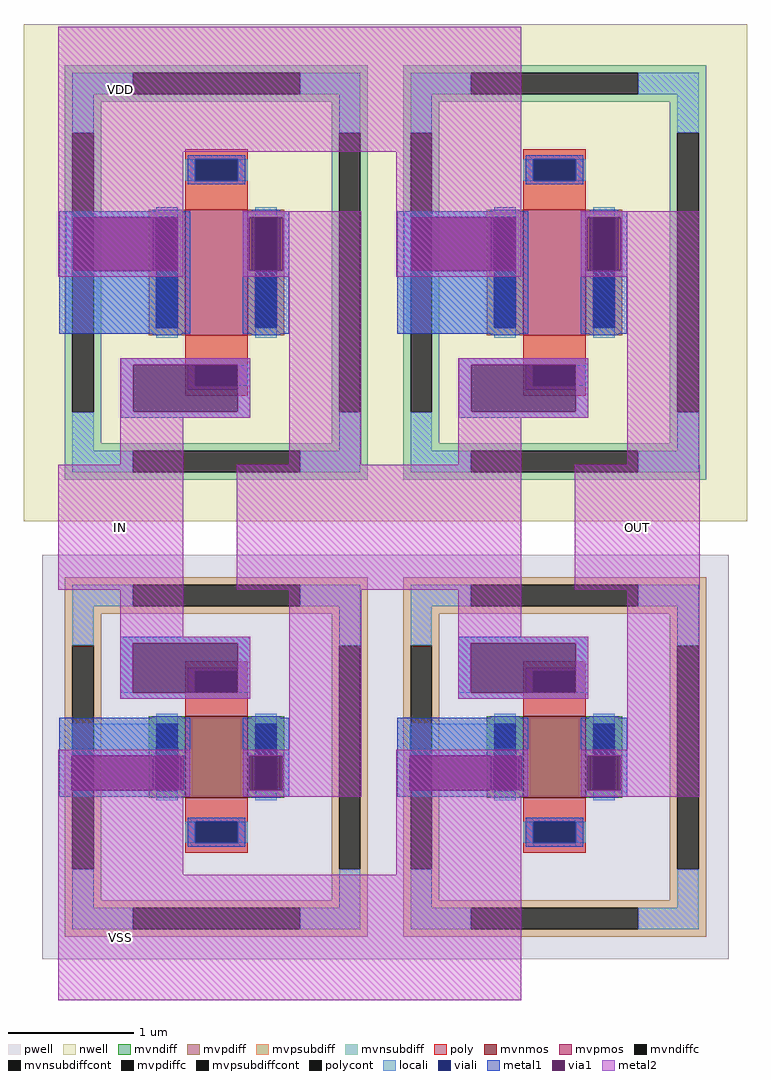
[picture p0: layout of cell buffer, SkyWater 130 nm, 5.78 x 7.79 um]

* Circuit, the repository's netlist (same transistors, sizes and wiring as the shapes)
* NGSPICE file created from buffer.ext - technology: sky130A

.subckt sky130_fd_pr__nfet_g5v0d10v5_CYDA8L a_n108_n65# a_n50_n153# a_n242_n287# a_50_n65#
X0 a_50_n65# a_n50_n153# a_n108_n65# a_n242_n287# sky130_fd_pr__nfet_g5v0d10v5 ad=0.1885 pd=1.88 as=0.1885 ps=1.88 w=0.65 l=0.5
.ends

.subckt sky130_fd_pr__pfet_g5v0d10v5_KLAZY6 a_n50_n197# a_50_n100# w_n308_n397# a_n108_n100#
X0 a_50_n100# a_n50_n197# a_n108_n100# w_n308_n397# sky130_fd_pr__pfet_g5v0d10v5 ad=0.29 pd=2.58 as=0.29 ps=2.58 w=1 l=0.5
.ends

.subckt inverter VDD IN OUT VSS
XXM1 VSS IN VSS OUT sky130_fd_pr__nfet_g5v0d10v5_CYDA8L
XXM2 IN OUT VDD VDD sky130_fd_pr__pfet_g5v0d10v5_KLAZY6
.ends

.subckt buffer VDD OUT IN VSS
Xx1 VDD IN x2/IN VSS inverter
Xx2 VDD x2/IN OUT VSS inverter
.ends

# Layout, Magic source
magic
tech sky130A
magscale 1 2
<< metal2 >>
rect 55 1290 795 1490
rect 55 1090 255 1290
rect 595 1090 795 1290
rect 55 590 255 790
rect 340 590 795 790
rect 880 590 1080 790
rect 55 135 255 335
rect 595 135 795 335
rect 55 -65 795 135
use inverter  x1
transform 1 0 0 0 1 0
box 0 0 616 1494
use inverter  x2
transform 1 0 540 0 1 0
box 0 0 616 1494
<< labels >>
flabel metal2 55 590 255 790 0 FreeSans 256 0 0 0 IN
port 3 nsew
flabel metal2 880 590 1080 790 0 FreeSans 256 0 0 0 OUT
port 2 nsew
flabel metal2 55 1290 255 1490 0 FreeSans 256 0 0 0 VDD
port 1 nsew
flabel metal2 55 -65 255 135 0 FreeSans 256 0 0 0 VSS
port 4 nsew
<< end >>

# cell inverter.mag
magic
tech sky130A
magscale 1 2
<< locali >>
rect 67 999 246 1195
rect 175 875 342 950
rect 154 426 362 515
rect 77 270 246 376
<< metal1 >>
rect 57 1185 266 1195
rect 57 1100 80 1185
rect 245 1100 266 1185
rect 57 999 266 1100
rect 350 1185 424 1195
rect 350 1100 360 1185
rect 414 1100 424 1185
rect 350 999 424 1100
rect 155 950 362 960
rect 155 875 175 950
rect 342 875 362 950
rect 155 865 362 875
rect 154 505 362 515
rect 154 426 174 505
rect 342 426 362 505
rect 154 416 362 426
rect 57 325 266 386
rect 57 270 77 325
rect 256 270 266 325
rect 57 260 266 270
rect 350 325 424 386
rect 350 270 360 325
rect 414 270 424 325
rect 350 260 424 270
<< via1 >>
rect 80 1100 245 1185
rect 360 1100 414 1185
rect 175 875 342 950
rect 174 426 342 505
rect 77 270 256 325
rect 360 270 414 325
<< metal2 >>
rect 55 1185 255 1290
rect 55 1100 80 1185
rect 245 1100 255 1185
rect 55 1090 255 1100
rect 350 1185 539 1195
rect 350 1100 360 1185
rect 414 1100 539 1185
rect 350 1090 539 1100
rect 154 950 362 960
rect 154 875 175 950
rect 342 875 362 950
rect 154 865 362 875
rect 154 790 255 865
rect 424 790 539 1090
rect 55 590 255 790
rect 340 590 540 790
rect 154 515 255 590
rect 154 505 362 515
rect 154 426 174 505
rect 342 426 362 505
rect 154 416 362 426
rect 424 335 539 590
rect 55 325 266 335
rect 55 270 77 325
rect 256 270 266 325
rect 55 260 266 270
rect 350 325 539 335
rect 350 270 360 325
rect 414 270 539 325
rect 350 260 539 270
rect 55 135 255 260
use sky130_fd_pr__nfet_g5v0d10v5_CYDA8L  XM1
transform 1 0 308 0 1 323
box -278 -323 278 323
use sky130_fd_pr__pfet_g5v0d10v5_KLAZY6  XM2
transform 1 0 308 0 1 1097
box -308 -397 308 397
<< labels >>
flabel metal2 55 590 255 790 0 FreeSans 256 0 0 0 IN
port 2 nsew
flabel metal2 55 1090 255 1290 0 FreeSans 256 0 0 0 VDD
port 1 nsew
flabel metal2 55 135 255 335 0 FreeSans 256 0 0 0 VSS
port 4 nsew
flabel metal2 340 590 540 790 0 FreeSans 256 0 0 0 OUT
port 3 nsew
<< end >>

# cell sky130_fd_pr__nfet_g5v0d10v5_CYDA8L: kit device sky130_fd_pr__nfet_g5v0d10v5, w 0.65 l 0.5 m 1 nf 1 diffcov 100 polycov 100 guard 1 glc 1 grc 1 gtc 1 gbc 1 tbcov 100 rlcov 100 topc 1 botc 1 poverlap 0 doverlap 1 lmin 0.50 wmin 0.42 compatible {sky130_fd_pr__nfet_01v8 sky130_fd_pr__nfet_01v8_lvt sky130_fd_bs_flash__special_sonosfet_star sky130_fd_pr__nfet_g5v0d10v5 sky130_fd_pr__nfet_05v0_nvt sky130_fd_pr__nfet_03v3_nvt} full_metal 1 viasrc 100 viadrn 100 viagate 100 viagb 0 viagr 0 viagl 0 viagt 0

# cell sky130_fd_pr__pfet_g5v0d10v5_KLAZY6: kit device sky130_fd_pr__pfet_g5v0d10v5, w 1.0 l 0.5 m 1 nf 1 diffcov 100 polycov 100 guard 1 glc 1 grc 1 gtc 1 gbc 1 tbcov 100 rlcov 100 topc 1 botc 1 poverlap 0 doverlap 1 lmin 0.50 wmin 0.42 compatible {sky130_fd_pr__pfet_01v8 sky130_fd_pr__pfet_01v8_lvt sky130_fd_pr__pfet_01v8_hvt sky130_fd_pr__pfet_g5v0d10v5} full_metal 1 viasrc 100 viadrn 100 viagate 100 viagb 0 viagr 0 viagl 0 viagt 0
